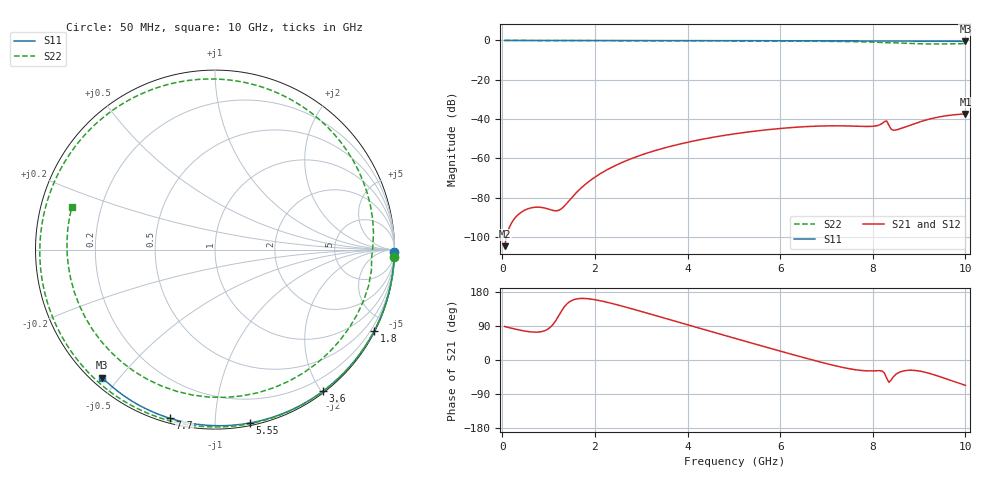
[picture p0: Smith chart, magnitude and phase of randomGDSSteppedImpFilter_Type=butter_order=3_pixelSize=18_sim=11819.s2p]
! freq	dB(S11)	phase(S11)	dB(S12)	phase(S12)
!  dB(S21)	phase(S21)	dB(S22)	phase(S22)
!S-par simulation data
#  GHz  S  DB  R 50
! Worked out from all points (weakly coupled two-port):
!   200 points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, 50 MHz to 10 GHz, reference 50 ohm
!   highest |S21| = -37.35 dB at 10 GHz (marker M1); lowest = -104.7 dB at 50 MHz (marker M2)
!   lowest |S11| = -0.4 dB at 10 GHz (marker M3), VSWR 39.10, Z = 1.54 - j22.6 ohm
!   |S11| at or under -10 dB: nowhere
!   |S22| runs from -1.8 to 0.0 dB; largest |S21 - S12| = 0
!   S11 on the Smith chart (normalised r, x): 50 MHz: open; 1.8 GHz: 0.04, -4.18; 3.6 GHz: 0.02, -2.02; 5.55 GHz: 0.02, -1.22; 7.7 GHz: 0.02, -0.77; 10 GHz: 0.03, -0.45
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0.05  -0.00 -0.8  -104.68 88.4  -104.68 88.4  -0.00 -2.4
0.7  -0.01 -10.6  -84.89 73.5  -84.89 73.5  -0.04 -32.9
1.5  -0.03 -22.5  -79.98 156.9  -79.98 156.9  -0.08 -68.3
1.75  -0.03 -26.2  -74.08 162.4  -74.08 162.4  -0.09 -78.7
1.8  -0.03 -26.9  -73.09 162.2  -73.09 162.2  -0.09 -80.7
2.45  -0.05 -36.4  -63.56 146.7  -63.56 146.7  -0.12 -105.9
3.4  -0.07 -49.9  -55.36 114.2  -55.36 114.2  -0.15 -139.2
3.6  -0.07 -52.7  -54.08 107.1  -54.08 107.1  -0.16 -145.8
4.35  -0.09 -62.9  -50.14 80.7  -50.14 80.7  -0.19 -170.2
5.05  -0.11 -72.2  -47.40 56.3  -47.40 56.3  -0.23 167.0
5.55  -0.13 -78.6  -45.88 38.9  -45.88 38.9  -0.27 150.0
6.7  -0.18 -93.0  -43.69 0.0  -43.69 0.0  -0.39 104.7
7.25  -0.21 -99.7  -43.43 -16.9  -43.43 -16.9  -0.50 76.7
7.7  -0.24 -105.0  -43.68 -26.9  -43.68 -26.9  -0.66 47.9
8.05  -0.26 -109.1  -43.54 -28.5  -43.54 -28.5  -0.87 20.0
8.3  -0.29 -112.0  -40.94 -48.1  -40.94 -48.1  -1.17 -2.9
8.35  -0.29 -112.6  -43.24 -59.0  -43.24 -59.0  -1.12 -7.8
8.45  -0.30 -113.7  -45.70 -43.6  -45.70 -43.6  -1.16 -18.9
8.75  -0.32 -117.2  -43.62 -27.3  -43.62 -27.3  -1.46 -54.3
9.05  -0.35 -120.6  -41.17 -30.1  -41.17 -30.1  -1.70 -92.3
9.55  -0.40 -126.3  -38.44 -48.2  -38.44 -48.2  -1.77 -152.5
10  -0.44 -131.4  -37.35 -66.9  -37.35 -66.9  -1.59 163.4
